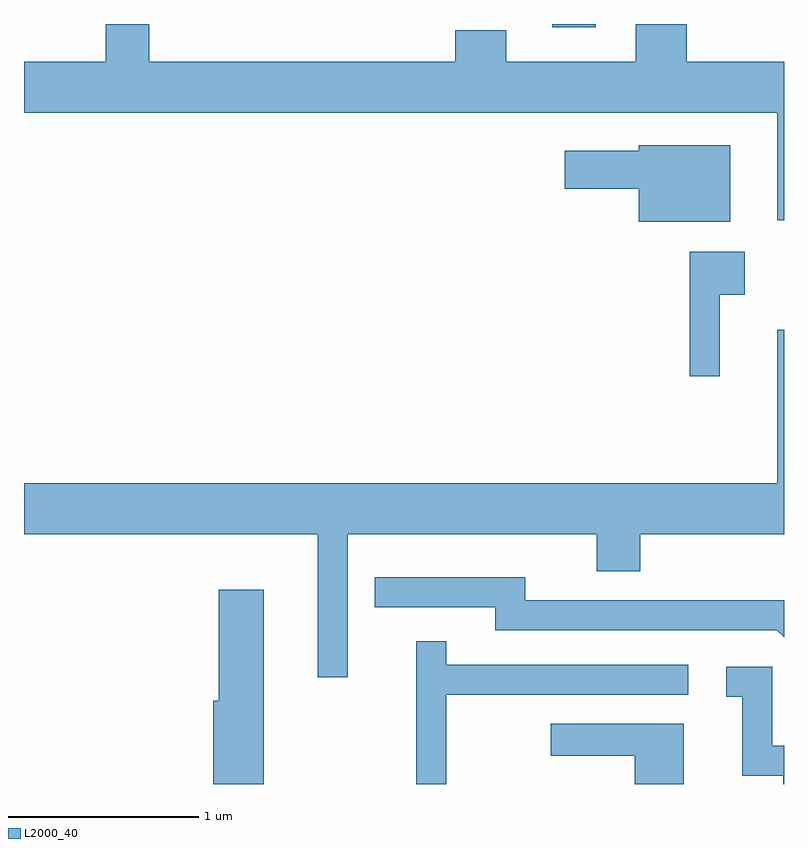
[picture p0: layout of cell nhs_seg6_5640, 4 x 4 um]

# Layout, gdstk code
import gdstk
lib = gdstk.Library(unit=1e-6, precision=1e-09)
def R(c, l, rs):  # rectangles x0, y0, x1, y1
    for r in rs: c.add(gdstk.rectangle(r[:2], r[2:], *l))
def P(c, l, *ps):  # polygons
    for p in ps: c.add(gdstk.Polygon(p, *l))
L2000_40 = (2000, 40)

nhs_seg6_5640 = lib.new_cell('nhs_seg6_5640')
R(nhs_seg6_5640, L2000_40, [(358.391,1668.146,358.619,1668.162)])
P(nhs_seg6_5640, L2000_40, [(359.611,1667.964),(359.099,1667.964),(359.099,1668.162),(358.831,1668.162),(358.831,1667.964),(358.149,1667.964),(358.149,1668.129),(357.881,1668.129),(357.881,1667.964),(356.269,1667.964),(356.269,1668.162),(356.041,1668.162),(356.041,1667.964),(355.611,1667.964),(355.611,1667.696),(359.576,1667.696),(359.576,1667.128),(359.611,1667.128)],
  [(359.329,1667.524),(358.846,1667.524),(358.846,1667.494),(358.456,1667.494),(358.456,1667.296),(358.846,1667.296),(358.846,1667.121),(359.329,1667.121)],
  [(359.274,1666.736),(359.404,1666.736),(359.404,1666.964),(359.116,1666.964),(359.116,1666.308),(359.274,1666.308)],
  [(357.314,1665.476),(358.626,1665.476),(358.626,1665.281),(358.854,1665.281),(358.854,1665.476),(359.611,1665.476),(359.611,1666.553),(359.576,1666.553),(359.576,1665.744),(355.611,1665.744),(355.611,1665.476),(357.156,1665.476),(357.156,1664.723),(357.314,1664.723)],
  [(359.611,1665.129),(358.249,1665.129),(358.249,1665.249),(357.458,1665.249),(357.458,1665.091),(358.091,1665.091),(358.091,1664.971),(359.574,1664.971),(359.611,1664.934)],
  [(356.874,1665.184),(356.636,1665.184),(356.636,1664.599),(356.606,1664.599),(356.606,1664.162),(356.874,1664.162)],
  [(357.834,1664.631),(359.108,1664.631),(359.108,1664.789),(357.834,1664.789),(357.834,1664.913),(357.676,1664.913),(357.676,1664.162),(357.834,1664.162)],
  [(359.611,1664.364),(359.549,1664.364),(359.549,1664.779),(359.308,1664.779),(359.308,1664.621),(359.391,1664.621),(359.391,1664.206),(359.606,1664.206),(359.606,1664.162),(359.611,1664.162)],
  [(359.084,1664.479),(358.383,1664.479),(358.383,1664.311),(358.826,1664.311),(358.826,1664.162),(359.084,1664.162)])

lib.write_gds('nhs_seg6_5640.gds')
